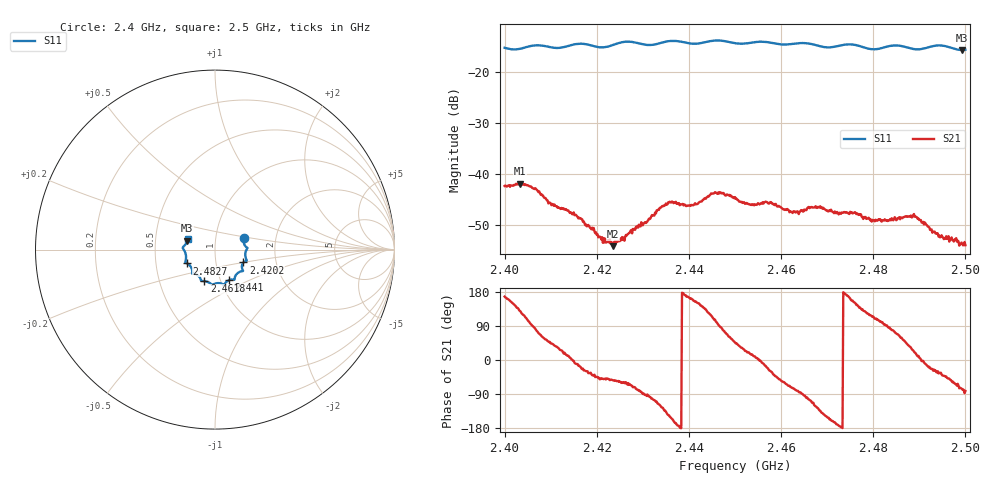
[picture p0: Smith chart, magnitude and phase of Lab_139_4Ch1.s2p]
# Hz S RI R 50
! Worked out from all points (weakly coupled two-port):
!   601 points, 2.4 GHz to 2.5 GHz, reference 50 ohm
!   highest |S21| = -41.95 dB at 2.4033 GHz (marker M1); lowest = -54.2 dB at 2.4235 GHz (marker M2)
!   lowest |S11| = -15.8 dB at 2.4993 GHz (marker M3), VSWR 1.39, Z = 36.5 + j3.8 ohm
!   |S11| at or under -10 dB: start of sweep to end of sweep
!   S12 and S22 are empty: the file has one direction only
!   S11 on the Smith chart (normalised r, x): 2.4 GHz: 1.36, +0.18; 2.4202 GHz: 1.36, -0.20; 2.441 GHz: 1.10, -0.39; 2.4618 GHz: 0.84, -0.30; 2.4827 GHz: 0.72, -0.11; 2.5 GHz: 0.73, +0.09
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2.4e9  0.1589 0.0626  -0.00738 0.00166  0 0  0 0
2.403333e9  0.165 0.0253  -0.00506 0.00619  0 0  0 0
2.406667e9  0.1801 0.00966  0.001 0.00713  0 0  0 0
2.41e9  0.1729 -0.00618  0.00366 0.00355  0 0  0 0
2.416667e9  0.1772 -0.0608  0.00333 -0.00137  0 0  0 0
2.420167e9  0.1588 -0.0713  0.00177 -0.00183  0 0  0 0
2.4235e9  0.1503 -0.1022  0.00116 -0.00156  0 0  0 0
2.433333e9  0.1117 -0.1506  -0.00191 -0.00401  0 0  0 0
2.436e9  0.1091 -0.1669  -0.00456 -0.00252  0 0  0 0
2.441e9  0.0789 -0.1698  -0.0045 0.00198  0 0  0 0
2.445333e9  0.0512 -0.1939  -0.0021 0.00603  0 0  0 0
2.45e9  0.0284 -0.1875  0.00405 0.00427  0 0  0 0
2.453667e9  -0.00534 -0.1921  0.00481 0.00128  0 0  0 0
2.458e9  -0.0253 -0.1891  0.00433 -0.00268  0 0  0 0
2.461833e9  -0.0592 -0.1755  0.00155 -0.00387  0 0  0 0
2.466667e9  -0.0787 -0.1682  -0.00175 -0.00437  0 0  0 0
2.482667e9  -0.156 -0.0771  -0.000111 0.00351  0 0  0 0
2.483333e9  -0.1602 -0.075  0.000248 0.00347  0 0  0 0
2.489e9  -0.1612 -0.0376  0.00356 0.00128  0 0  0 0
2.494167e9  -0.18 0.0099  0.00197 -0.0014  0 0  0 0
2.499333e9  -0.1543 0.0507  0.000427 -0.00199  0 0  0 0
2.5e9  -0.1521 0.0603  0.000293 -0.00197  0 0  0 0
